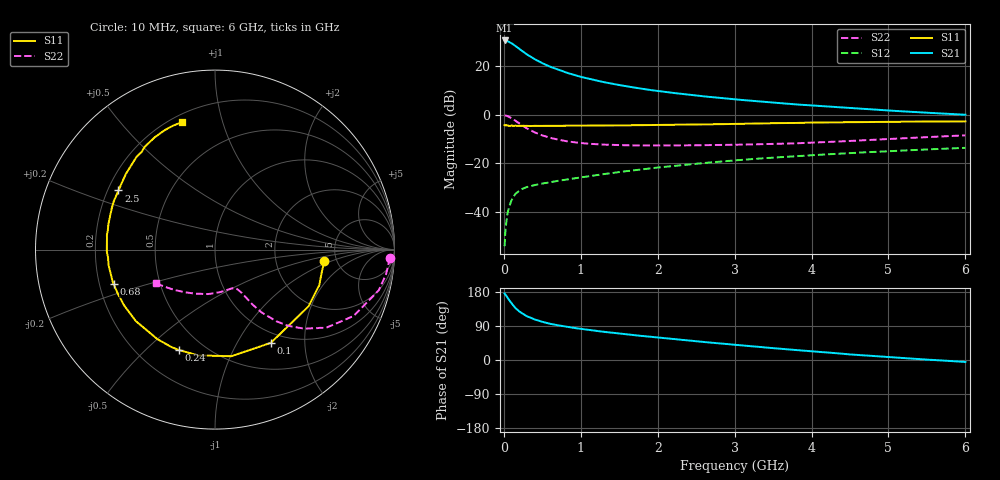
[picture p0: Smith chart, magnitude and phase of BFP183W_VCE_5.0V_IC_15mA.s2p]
! Infineon Technologies  Discrete & RF Semiconductors
! BFP183W
! VCE = 5.0 V,  IC =  15 mA
! Common Emitter S-Parameters:  Jan 2016
# GHz  S  MA  R  50
!  f  S11  S21  S12  S22
! GHz  MAG  ANG  MAG  ANG  MAG  ANG  MAG  ANG
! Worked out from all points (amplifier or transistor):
!   210 points, 10 MHz to 6 GHz, reference 50 ohm
!   highest |S21| = 30.6 dB at 10 MHz (marker M1)
!   |S21| within 3 dB of that: start of sweep to 181.4 MHz
!   unconditionally stable (mu >= 1): 1.141 GHz to 5.282 GHz
!   at 185 MHz: K = 0.28, MSG = 29.5 dB, |S12| = -31.6 dB
!   at 1.52 GHz: K = 1.09, MAG = 15.9 dB, |S12| = -23.5 dB
!   at 6 GHz: K = 0.97, MSG = 6.8 dB, |S12| = -13.6 dB
!   S11 on the Smith chart (normalised r, x): 10 MHz: 3.97, -0.84; 100 MHz: 0.85, -1.40; 240 MHz: 0.37, -0.64; 680 MHz: 0.26, -0.15; 2.5 GHz: 0.24, +0.27; 6 GHz: 0.24, +0.74
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0.01  0.6122 -6.2  33.76 175.5  0.002 90.1  0.9741 -2.7
0.02  0.608 -12.7  33.61 173.1  0.0041 82.4  0.9683 -5.6
0.03  0.6139 -18.9  33.52 169.9  0.0057 82.9  0.9621 -8.4
0.05  0.6093 -31.3  32.64 163.4  0.0098 76.6  0.9404 -13.9
0.1  0.6055 -59.1  29.67 149.2  0.0176 65.1  0.8563 -25.6
0.15  0.601 -81.3  26.12 137.2  0.0237 58.1  0.7579 -35.0
0.2  0.5969 -99.1  22.7 128.1  0.0275 51.7  0.666 -41.4
0.24  0.5945 -109.6  20.41 122.7  0.0301 48.7  0.6048 -45.1
0.3  0.5932 -122.8  17.42 115.4  0.0329 45.3  0.526 -49.4
0.4  0.5942 -137.8  13.93 106.9  0.036 43.3  0.4367 -53.4
0.5  0.5942 -148.4  11.52 100.6  0.0387 42.8  0.3775 -55.5
0.6  0.5947 -156.2  9.767 95.6  0.0413 43.2  0.3373 -56.6
0.68  0.5964 -161.2  8.761 92.6  0.0434 44.1  0.3152 -57.2
0.8  0.597 -167.5  7.475 88.1  0.0464 45.2  0.2894 -58.1
1.02  0.5984 -176.4  5.932 81.7  0.0523 47.3  0.2618 -59.8
1.4  0.6077 172.3  4.371 72.1  0.0634 50.1  0.2414 -63.3
2.02  0.62 157.8  3.065 58.8  0.0832 51.8  0.2344 -72.1
2.5  0.6312 148.5  2.494 49.4  0.0988 51.2  0.237 -80.6
3.1  0.6545 137.9  2.017 38.5  0.119 49.2  0.2443 -92.7
4.1  0.6963 123.1  1.522 21.5  0.1511 44.3  0.2717 -116.0
5.1  0.7232 112.0  1.2 6.4  0.182 38.6  0.3244 -137.0
6  0.7334 104.7  1.005 -5.2  0.2097 33.6  0.3797 -150.5
